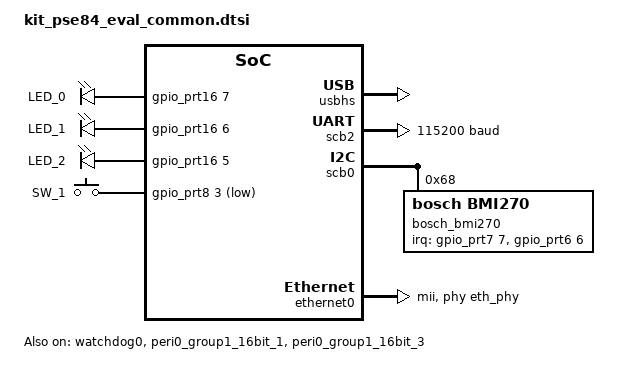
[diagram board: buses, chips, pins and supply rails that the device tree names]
/*
 * SPDX-FileCopyrightText: Copyright (c) 2025-2026 Infineon Technologies AG,
 * SPDX-FileCopyrightText: or an affiliate of Infineon Technologies AG.
 *
 * SPDX-License-Identifier: Apache-2.0
 */

#include <zephyr/dt-bindings/input/input-event-codes.h>
#include "kit_pse84_eval_common-pinctrl.dtsi"

/ {
	aliases {
		sw0 = &user_bt;
		watchdog0 = &watchdog0;

		/* Sensor Aliases */
		accel0 = &bosch_bmi270;
	};

	leds {
		compatible = "gpio-leds";

		led_red: led_0 {
			label = "LED_0";
			gpios = <&gpio_prt16 7 GPIO_ACTIVE_HIGH>;
		};

		led_green: led_1 {
			label = "LED_1";
			gpios = <&gpio_prt16 6 GPIO_ACTIVE_HIGH>;
		};

		led_blue: led_2 {
			label = "LED_2";
			gpios = <&gpio_prt16 5 GPIO_ACTIVE_HIGH>;
		};
	};

	gpio_keys {
		compatible = "gpio-keys";

		user_bt: button_0 {
			label = "SW_1";
			gpios = <&gpio_prt8 3 (GPIO_PULL_UP | GPIO_ACTIVE_LOW)>;
			zephyr,code = <INPUT_KEY_0>;
		};
	};
};

&watchdog0 {
	status = "okay";
};

zephyr_udc0: &usbhs {
	status = "okay";
};

uart2: &scb2 {
	compatible = "infineon,uart";
	status = "okay";
	current-speed = <115200>;

	clocks = <&peri0_group1_16bit_1>;

	pinctrl-0 = <&p6_7_scb2_uart_tx &p6_5_scb2_uart_rx>;
	pinctrl-names = "default";
};

&peri0_group1_16bit_1 {
	status = "okay";
	clock-div = <1>;
};

i2c0: &scb0 {
	#address-cells = <1>;
	#size-cells = <0>;
	compatible = "infineon,i2c";
	status = "okay";
	clocks = <&peri0_group1_16bit_3>;
	pinctrl-0 = <&p8_0_scb0_i2c_scl &p8_1_scb0_i2c_sda>;
	pinctrl-names = "default";

	bosch_bmi270: bmi270@68 {
		compatible = "bosch,bmi270";
		reg = <0x68>;
		status = "okay";
		irq-gpios = <&gpio_prt7 7 GPIO_ACTIVE_HIGH>, <&gpio_prt6 6 GPIO_ACTIVE_HIGH>;
	};
};

&peri0_group1_16bit_3 {
	status = "okay";
	clock-div = <62>;
};

&gpio_prt0 {
	status = "okay";
};

&gpio_prt2 {
	status = "okay";
};

&gpio_prt6 {
	status = "okay";
};

&gpio_prt7 {
	status = "okay";
};

&gpio_prt8 {
	status = "okay";
};

&gpio_prt10 {
	status = "okay";
};

&gpio_prt11 {
	status = "okay";
};

&gpio_prt13 {
	status = "okay";
};

&gpio_prt14 {
	status = "okay";
};

&gpio_prt16 {
	status = "okay";
};

&gpio_prt17 {
	status = "okay";
};

/*
 * Microchip LAN8710A PHY on MII, its reset is tied to the MCU reset. The
 * MII pins are shared with the HCI UART of the Bluetooth module and need a
 * board rework, enable it with the pse84-eth or pse84-eth-rmii snippet.
 */
&ethernet0 {
	pinctrl-0 = <&p13_1_eth0_mdc &p13_6_eth0_mdio
		     &p11_2_eth0_txd0 &p11_3_eth0_txd1 &p11_6_eth0_txd2 &p10_0_eth0_txd3
		     &p11_4_eth0_tx_ctl &p11_5_eth0_tx_clk
		     &p10_6_eth0_rxd0 &p10_7_eth0_rxd1 &p11_0_eth0_rxd2 &p10_4_eth0_rxd3
		     &p10_5_eth0_rx_ctl &p10_1_eth0_rx_clk>;
	pinctrl-names = "default";
	phy-handle = <&eth_phy>;
	phy-connection-type = "mii";
	zephyr,random-mac-address;
};

&mdio0 {
	eth_phy: ethernet-phy@0 {
		compatible = "ethernet-phy";
		reg = <0>;
		status = "disabled";
	};
};
